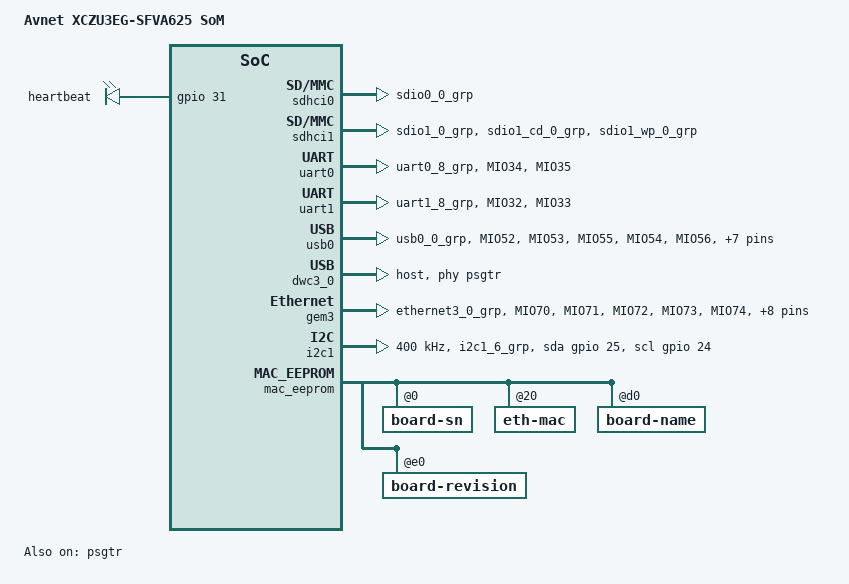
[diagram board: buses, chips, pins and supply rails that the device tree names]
/* AvNet UltraZed EG IOCC Board Customization */

/* Sources used:
 * DTS file for Avnet Ultrazed-EG SoM
 * DTS file for Avnet IOCC Carrier Board
 * Andreas Galauner <andreas@galauner.de>
 *
 * SPDX-License-Identifier: GPL-2.0+
 */

/*
 * slew-rate = 1    == <SLEW_RATE_SLOW>
 * io-standard = 1  == <IO_STANDARD_LVCMOS18>
 * gpio flag 0 == GPIO_ACTIVE_HIGH
 */

/ {
	model = "Avnet XCZU3EG-SFVA625 SoM";

	aliases {
		gpio0 = &gpio;
		mmc1 = &sdhci1;
		mmc0 = &sdhci0;
		rtc0 = &rtc;
		serial0 = &uart0;
		serial1 = &uart1;
		usb0 = &usb0;
		spi0 = &qspi;
                i2c1 = &i2c1;
		ethernet0 = &gem3;
	};

	reserved-memory {
		#size-cells = <2>;
		#address-cells = <2>;
		ranges;

		optee_core@7e000000 {
			reg = <0x00 0x7fc00000 0x00 0x400000>;
			no-map;
		};

		optee_shm@7fc00000 {
			reg = <0x00 0x7e000000 0x00 0x1c00000>;
			no-map;
		};
	};

	leds {
		compatible = "gpio-leds";
		heartbeat_led {
			label = "heartbeat";
			gpios = <&gpio 31 0>;
			linux,default-trigger = "heartbeat";
		};
	};

	firmware {
		optee {
			compatible = "linaro,optee-tz";
			method = "smc";
		};
	};
};

&gpio {
        status = "okay";
        pinctrl-names = "default";
        pinctrl-0 = <&pinctrl_gpio_default>;
};

&sdhci0 {
	pinctrl-names = "default";
	pinctrl-0 = <&pinctrl_sdhci0_default>;
};

&sdhci1 {
	pinctrl-names = "default";
	pinctrl-0 = <&pinctrl_sdhci1_default>;
	disable-wp;
};

&uart0 {
	status = "okay";
	pinctrl-names = "default";
	pinctrl-0 = <&pinctrl_uart0_default>;
};

&uart1 {
        status = "okay";
	pinctrl-names = "default";
	pinctrl-0 = <&pinctrl_uart1_default>;
};

&usb0 {
	pinctrl-names = "default";
	pinctrl-0 = <&pinctrl_usb0_default>;
};

&dwc3_0 {
	status = "okay";
	dr_mode = "host";
	snps,usb3_lpm_capable;
	snps,enable_auto_retry;
	phy-names = "usb3-phy";
	/* 4==PHY_TYPE_USB3 */
	phys = <&psgtr 0 4 0 0>;
	maximum-speed = "super-speed";
};

&gem3 {
	#local-mac-address = [00 0a 35 00 02 90]; /* EMAC on EEPROM */
	pinctrl-names = "default";
	pinctrl-0 = <&pinctrl_gem3_default>;
};

&i2c1 {
        status = "okay";
        clock-frequency = <400000>;
        pinctrl-names = "default", "gpio";
        pinctrl-0 = <&pinctrl_i2c1_default>;
        pinctrl-1 = <&pinctrl_i2c1_gpio>;
        scl-gpios = <&gpio 24 0>;
        sda-gpios = <&gpio 25 0>;
};

&mac_eeprom { /* U5 on UZ3EG IOCC and U7 on the UZ7EV EVCC*/
	board-sn@0 {
		reg = <0x00 0x14>;
	};
	eth-mac@20 {
		reg = <0x20 0x06>;
	};
	board-name@d0 {
		reg = <0xd0 0x06>;
	};
	board-revision@e0 {
		reg = <0xe0 0x03>;
	};
};

&psgtr {
	status = "okay"; /* Need to check if this is needed */
};

&pinctrl0 {
	status = "okay";

	pinctrl_gem3_default: gem3-default {
		mux {
			function = "ethernet3";
			groups = "ethernet3_0_grp";
		};

		conf {
			groups = "ethernet3_0_grp";
			slew-rate = <1>;
			io-standard = <1>;
		};

		conf-rx {
			pins = "MIO70", "MIO71", "MIO72", "MIO73", "MIO74", "MIO75";
			bias-high-impedance;
			low-power-disable;
		};

		conf-tx {
			pins = "MIO64", "MIO65", "MIO66", "MIO67", "MIO68", "MIO69";
			bias-disable;
			low-power-enable;
		};

		mux-mdio {
			function = "mdio3";
			groups = "mdio3_0_grp";
		};

		conf-mdio {
			groups = "mdio3_0_grp";
			slew-rate = <1>;
			io-standard = <1>;
			bias-disable;
		};
	};

	pinctrl_i2c1_default: i2c1-default {
		mux {
			groups = "i2c1_6_grp";
			function = "i2c1";
		};

		conf {
			groups = "i2c1_6_grp";
			bias-pull-up;
			slew-rate = <1>;
			io-standard = <1>;
                };
        };

	pinctrl_i2c1_gpio: i2c1-gpio {
		mux {
			groups = "gpio0_24_grp", "gpio0_25_grp";
			function = "gpio0";
		};

		conf {
			groups = "gpio0_24_grp", "gpio0_25_grp";
			slew-rate = <1>;
			io-standard = <1>;
		};
	};

	pinctrl_sdhci1_default: sdhci1-default {
		mux {
			groups = "sdio1_0_grp";
			function = "sdio1";
		};

		conf {
			groups = "sdio1_0_grp";
			slew-rate = <1>;
			io-standard = <1>;
			bias-disable;
		};

		mux-cd {
			groups = "sdio1_cd_0_grp";
			function = "sdio1_cd";
		};

		conf-cd {
			groups = "sdio1_cd_0_grp";
			bias-high-impedance;
			bias-pull-up;
			slew-rate = <1>;
			io-standard = <1>;
		};

		mux-wp {
			groups = "sdio1_wp_0_grp";
			function = "sdio1_wp";
		};

		conf-wp {
			groups = "sdio1_wp_0_grp";
			bias-high-impedance;
			bias-pull-up;
			slew-rate = <1>;
			io-standard = <1>;
		};
	};

	pinctrl_uart0_default: uart0-default {
		mux {
			groups = "uart0_8_grp";
			function = "uart0";
		};

		conf {
			groups = "uart0_8_grp";
			slew-rate = <1>;
			io-standard = <1>;
		};

		conf-rx {
			pins = "MIO34";
			bias-high-impedance;
		};

		conf-tx {
			pins = "MIO35";
			bias-disable;
		};
	};

	pinctrl_uart1_default: uart1-default {
		mux {
			groups = "uart1_8_grp";
			function = "uart1";
		};

		conf {
			groups = "uart1_8_grp";
			slew-rate = <1>;
			io-standard = <1>;
		};

		conf-rx {
			pins = "MIO32";
			bias-high-impedance;
		};

		conf-tx {
			pins = "MIO33";
			bias-disable;
		};
	};

	pinctrl_usb0_default: usb0-default {
		mux {
			groups = "usb0_0_grp";
			function = "usb0";
		};

		conf {
			groups = "usb0_0_grp";
			slew-rate = <1>;
			io-standard = <1>;
		};

		conf-rx {
			pins = "MIO52", "MIO53", "MIO55";
			bias-high-impedance;
	        };

		conf-tx {
			pins = "MIO54", "MIO56", "MIO57", "MIO58", "MIO59",
			       "MIO60", "MIO61", "MIO62", "MIO63";
			bias-disable;
		};
	};

	pinctrl_gpio_default: gpio-default {
		mux-led {
			function = "gpio0";
			groups = "gpio0_31_grp";
		};

	        conf-led {
			groups = "gpio0_31_grp";
			slew-rate = <1>;
			io-standard = <1>;
	        };

		conf-pull-none {
			/* PS User LED */
			pins = "MIO31";
			bias-disable;
		};
	};

	pinctrl_sdhci0_default: sdhci0-default {
		mux {
			groups = "sdio0_0_grp";
			function = "sdio0";
		};

		conf {
			groups = "sdio0_0_grp";
			slew-rate = <1>;
			io-standard = <1>;
			bias-disable;
		};
	};
};
